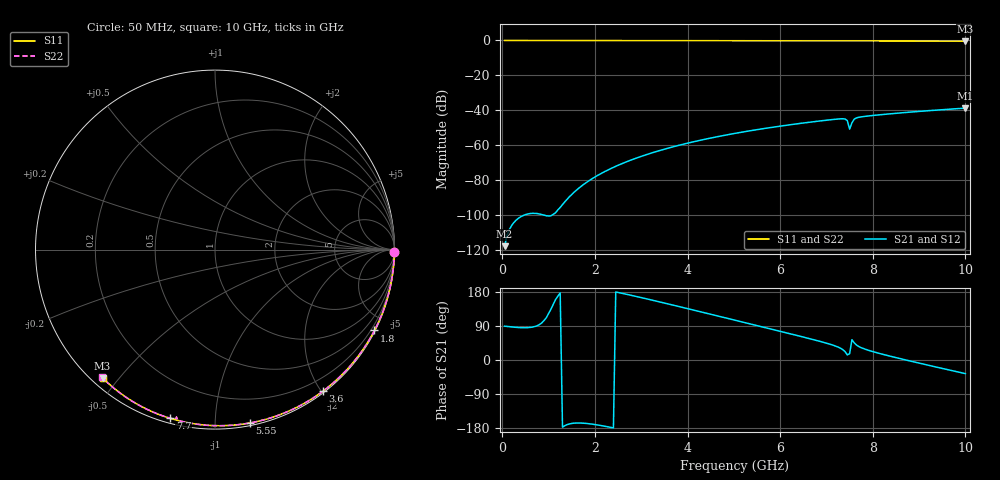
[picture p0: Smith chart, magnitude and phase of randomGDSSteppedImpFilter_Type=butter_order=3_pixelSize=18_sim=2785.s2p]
! freq	dB(S11)	phase(S11)	dB(S12)	phase(S12)
!  dB(S21)	phase(S21)	dB(S22)	phase(S22)
!S-par simulation data
#  GHz  S  DB  R 50
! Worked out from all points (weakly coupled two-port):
!   200 points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, 50 MHz to 10 GHz, reference 50 ohm
!   highest |S21| = -38.79 dB at 10 GHz (marker M1); lowest = -117.9 dB at 50 MHz (marker M2)
!   lowest |S11| = -0.4 dB at 10 GHz (marker M3), VSWR 39.08, Z = 1.54 - j22.6 ohm
!   |S11| at or under -10 dB: nowhere
!   |S22| runs from -0.4 to 0.0 dB; largest |S21 - S12| = 0
!   S11 on the Smith chart (normalised r, x): 50 MHz: open; 1.8 GHz: 0.04, -4.18; 3.6 GHz: 0.02, -2.02; 5.55 GHz: 0.02, -1.22; 7.7 GHz: 0.02, -0.77; 10 GHz: 0.03, -0.45
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0.05  -0.00 -0.8  -117.86 89.3  -117.86 89.3  -0.00 -0.8
0.9  -0.02 -13.6  -100.10 103.9  -100.10 103.9  -0.02 -13.6
1.75  -0.03 -26.2  -82.61 -166.7  -82.61 -166.7  -0.03 -26.2
1.8  -0.03 -26.9  -81.66 -167.2  -81.66 -167.2  -0.03 -26.9
1.9  -0.04 -28.4  -79.87 -168.6  -79.87 -168.6  -0.04 -28.4
2.25  -0.04 -33.4  -74.60 -175.6  -74.60 -175.6  -0.04 -33.5
2.65  -0.05 -39.2  -69.85 174.3  -69.85 174.3  -0.05 -39.3
3.4  -0.07 -49.8  -63.05 153.2  -63.05 153.2  -0.07 -49.9
3.6  -0.07 -52.6  -61.56 147.4  -61.56 147.4  -0.07 -52.7
4.3  -0.09 -62.1  -57.04 126.7  -57.04 126.7  -0.09 -62.3
5.05  -0.11 -72.1  -53.11 104.3  -53.11 104.3  -0.11 -72.2
5.55  -0.13 -78.5  -50.88 89.3  -50.88 89.3  -0.13 -78.7
6.7  -0.18 -92.9  -46.63 54.3  -46.63 54.3  -0.18 -93.2
7.25  -0.21 -99.6  -45.00 34.2  -45.00 34.2  -0.21 -100.0
7.4  -0.22 -101.3  -45.00 22.4  -45.00 22.4  -0.24 -102.0
7.45  -0.23 -101.9  -45.90 13.5  -45.90 13.5  -0.29 -102.7
7.5  -0.23 -102.5  -50.83 16.5  -50.83 16.5  -0.39 -103.0
7.55  -0.23 -103.1  -47.22 53.5  -47.22 53.5  -0.33 -102.8
7.6  -0.23 -103.7  -45.03 45.3  -45.03 45.3  -0.27 -103.5
7.7  -0.24 -104.9  -44.01 35.5  -44.01 35.5  -0.25 -104.9
8.35  -0.29 -112.5  -42.09 10.8  -42.09 10.8  -0.29 -112.7
10  -0.44 -131.2  -38.79 -36.0  -38.79 -36.0  -0.44 -131.6
